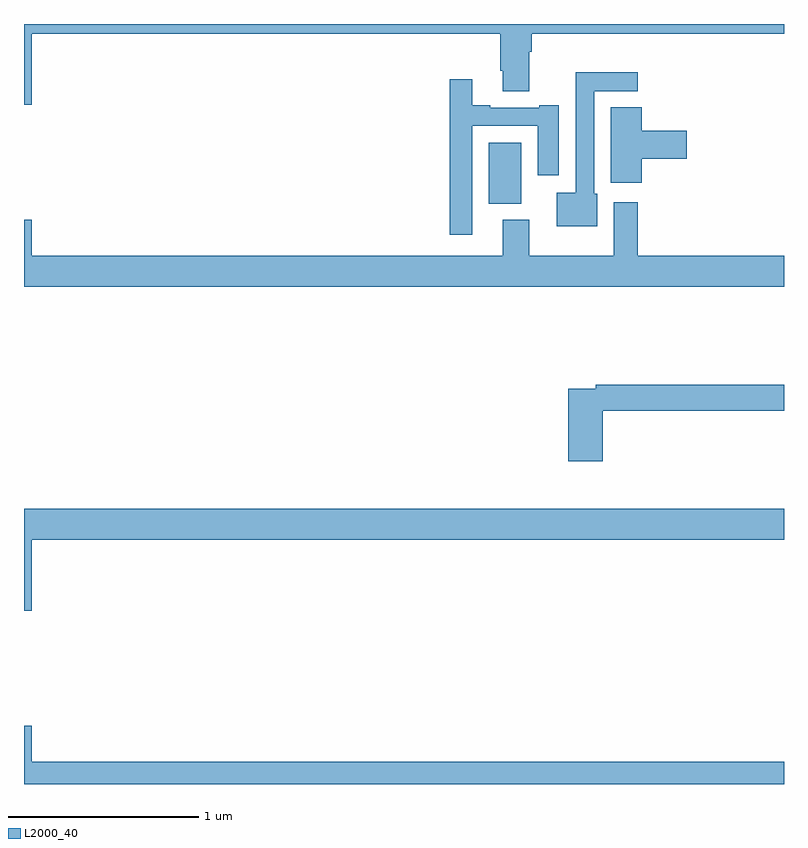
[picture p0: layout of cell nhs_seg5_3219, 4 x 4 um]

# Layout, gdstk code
import gdstk
lib = gdstk.Library(unit=1e-6, precision=1e-09)
def R(c, l, rs):  # rectangles x0, y0, x1, y1
    for r in rs: c.add(gdstk.rectangle(r[:2], r[2:], *l))
def P(c, l, *ps):  # polygons
    for p in ps: c.add(gdstk.Polygon(p, *l))
L2000_40 = (2000, 40)

nhs_seg5_3219 = lib.new_cell('nhs_seg5_3219')
R(nhs_seg5_3219, L2000_40, [(299.447,867.854,299.617,868.174)])
P(nhs_seg5_3219, L2000_40, [(297.04,868.748),(299.507,868.748),(299.507,868.552),(299.519,868.552),(299.519,868.444),(299.659,868.444),(299.659,868.652),(299.672,868.652),(299.672,868.748),(301,868.748),(301,868.799),(297,868.799),(297,868.374),(297.04,868.374)],
  [(300.016,867.906),(300,867.906),(300,868.446),(300.229,868.446),(300.229,868.544),(299.904,868.544),(299.904,867.91),(299.804,867.91),(299.804,867.734),(300.016,867.734)],
  [(299.358,868.263),(299.705,868.263),(299.705,868.002),(299.815,868.002),(299.815,868.372),(299.711,868.372),(299.711,868.359),(299.455,868.359),(299.455,868.372),(299.359,868.372),(299.359,868.507),(299.242,868.507),(299.242,867.69),(299.358,867.69)],
  [(300.251,868.091),(300.487,868.091),(300.487,868.238),(300.251,868.238),(300.251,868.361),(300.089,868.361),(300.089,867.963),(300.251,867.963)],
  [(301,867.58),(300.23,867.58),(300.23,867.862),(300.104,867.862),(300.104,867.58),(299.659,867.58),(299.659,867.769),(299.519,867.769),(299.519,867.58),(297.04,867.58),(297.04,867.769),(297,867.769),(297,867.416),(301,867.416)],
  [(300.047,866.764),(301,866.764),(301,866.9),(300.01,866.9),(300.01,866.88),(299.864,866.88),(299.864,866.499),(300.047,866.499)],
  [(297.04,866.084),(301,866.084),(301,866.248),(297,866.248),(297,865.71),(297.04,865.71)],
  [(301,864.916),(297.04,864.916),(297.04,865.105),(297,865.105),(297,864.799),(301,864.799)])

lib.write_gds('nhs_seg5_3219.gds')
